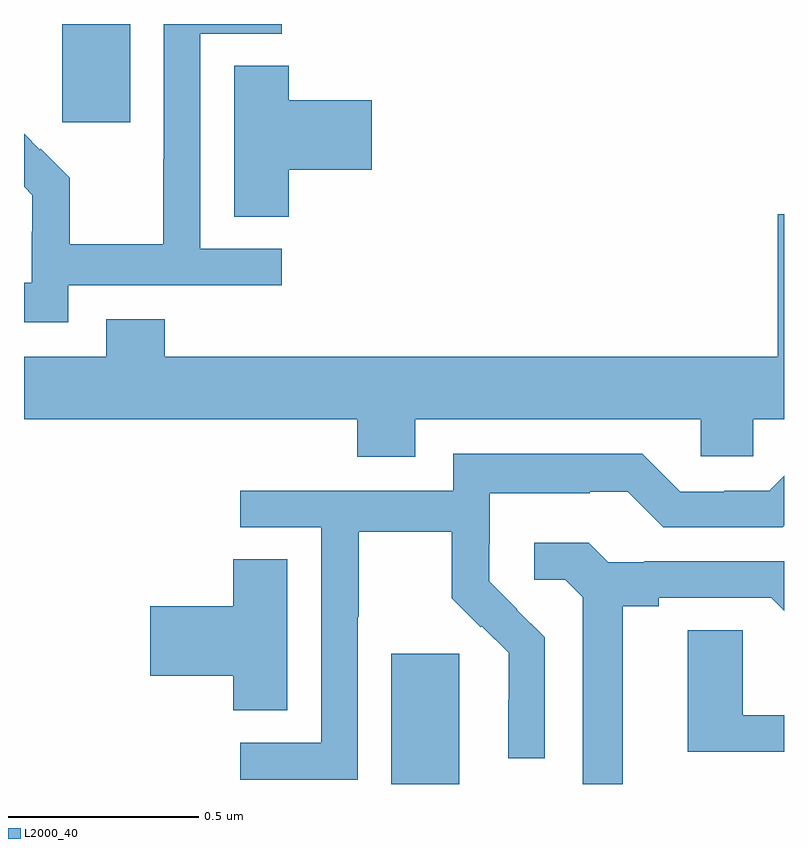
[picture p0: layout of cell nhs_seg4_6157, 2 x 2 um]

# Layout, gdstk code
import gdstk
lib = gdstk.Library(unit=1e-6, precision=1e-09)
def R(c, l, rs):  # rectangles x0, y0, x1, y1
    for r in rs: c.add(gdstk.rectangle(r[:2], r[2:], *l))
def P(c, l, *ps):  # polygons
    for p in ps: c.add(gdstk.Polygon(p, *l))
L2000_40 = (2000, 40)

nhs_seg4_6157 = lib.new_cell('nhs_seg4_6157')
R(nhs_seg4_6157, L2000_40, [(187.967,755.9,188.146,756.243), (187.1,757.641,187.279,757.9)])
P(nhs_seg4_6157, L2000_40, [(187.116,757.212),(187.678,757.212),(187.678,757.308),(187.464,757.308),(187.464,757.875),(187.678,757.875),(187.678,757.9),(187.368,757.9),(187.368,757.544),(187.366,757.544),(187.366,757.321),(187.121,757.321),(187.121,757.495),(187.044,757.572),(187.041,757.569),(187,757.611),(187,757.472),(187.022,757.45),(187.022,757.353),(187.02,757.353),(187.02,757.219),(187,757.219),(187,757.115),(187.116,757.115)],
  [(187.697,757.517),(187.915,757.517),(187.915,757.7),(187.697,757.7),(187.697,757.79),(187.553,757.79),(187.553,757.393),(187.697,757.393)],
  [(188.029,756.86),(188.781,756.86),(188.781,756.762),(188.919,756.762),(188.919,756.86),(189,756.86),(189,757.399),(188.984,757.399),(188.984,757.024),(187.37,757.024),(187.37,757.123),(187.217,757.123),(187.217,757.024),(187,757.024),(187,756.86),(187.877,756.86),(187.877,756.761),(188.029,756.761)],
  [(187.878,756.34),(187.881,756.34),(187.881,756.564),(188.125,756.564),(188.125,756.389),(188.202,756.312),(188.205,756.315),(188.276,756.245),(188.276,756.122),(188.274,756.122),(188.274,755.968),(188.37,755.968),(188.37,756.286),(188.297,756.359),(188.298,756.36),(188.224,756.434),(188.224,756.531),(188.226,756.531),(188.226,756.665),(188.489,756.665),(188.489,756.669),(188.589,756.669),(188.682,756.576),(188.997,756.576),(189,756.579),(189,756.711),(188.961,756.672),(188.843,756.672),(188.843,756.669),(188.727,756.669),(188.627,756.769),(188.13,756.769),(188.13,756.672),(187.569,756.672),(187.569,756.576),(187.782,756.576),(187.782,756.009),(187.569,756.009),(187.569,755.911),(187.878,755.911)],
  [(188.575,756.368),(188.671,756.368),(188.671,756.39),(188.966,756.39),(189,756.356),(189,756.486),(188.632,756.486),(188.632,756.483),(188.538,756.483),(188.486,756.535),(188.343,756.535),(188.343,756.438),(188.424,756.438),(188.471,756.391),(188.471,755.9),(188.575,755.9)],
  [(187.693,756.491),(187.55,756.491),(187.55,756.368),(187.332,756.368),(187.332,756.185),(187.55,756.185),(187.55,756.094),(187.693,756.094)],
  [(189,756.081),(188.892,756.081),(188.892,756.305),(188.747,756.305),(188.747,755.985),(189,755.985)])

lib.write_gds('nhs_seg4_6157.gds')
